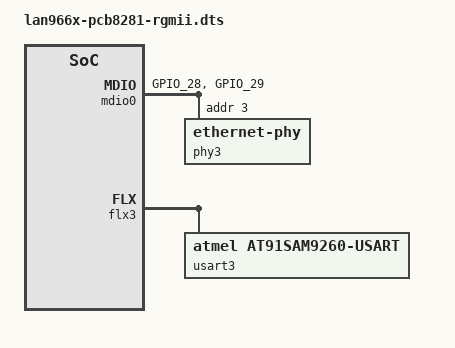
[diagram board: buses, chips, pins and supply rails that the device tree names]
// SPDX-License-Identifier: (GPL-2.0+ OR MIT)
/*
 * lan966x_pcb8281.dts - Device Tree file for PCB8281
 */
/dts-v1/;

#include "lan966x-pcb8281.dtsi"

&aes {
	status = "disabled";
};

&gpio {
	miim_a_pins: mdio-pins {
		/* MDC, MDIO */
		pins =  "GPIO_28", "GPIO_29";
		function = "miim_a";
		drive-strength = <0>;
	};

	fc3_b_pins: fc3-b-pins {
		/* RX, TX */
		pins = "GPIO_52", "GPIO_53";
		function = "fc3_b";
	};
};

&mdio0 {
	status = "okay";
	pinctrl-names = "default";
	pinctrl-0 = <&miim_a_pins>;

	phy3: ethernet-phy@3 {
		reg = <3>;
	};
};

&miim_a_pins {
	drive-strength = <0>;
};

&port3 {
	status = "okay";
	phy-handle = <&phy3>;
	phy-mode = "rgmii-id";
	phys = <&serdes 3 RGMII(1)>;
};

&flx3 {
	atmel,flexcom-mode = <ATMEL_FLEXCOM_MODE_USART>;
	status = "okay";

	usart3: serial@200 {
		compatible = "atmel,at91sam9260-usart";
		reg = <0x200 0x200>;
		interrupts = <GIC_SPI 51 IRQ_TYPE_LEVEL_HIGH>;
		clocks = <&nic_clk>;
		clock-names = "usart";
		pinctrl-0 = <&fc3_b_pins>;
		pinctrl-names = "default";
		atmel,fifo-size = <32>;
		status = "okay";
	};
};
